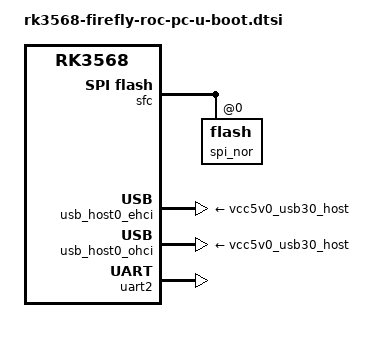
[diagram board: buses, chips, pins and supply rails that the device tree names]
// SPDX-License-Identifier: GPL-2.0+
/*
 * (C) Copyright 2021 Rockchip Electronics Co., Ltd
 */

#include "rk3568-u-boot.dtsi"

/ {
	chosen {
		stdout-path = &uart2;
		u-boot,spl-boot-order = "same-as-spl", &spi_nor, &sdmmc0, &sdhci;
	};
};

&gmac1 {
	assigned-clocks = <&cru SCLK_GMAC1_RX_TX>, <&cru SCLK_GMAC1>;
	assigned-clock-parents = <&cru SCLK_GMAC1_RGMII_SPEED>, <&gmac1_clkin>;
	status = "disabled";
};

&sfc {
	spi_nor: flash@0 {
		u-boot,dm-spl;
	};
};

&usb_host0_ehci {
	vbus-supply = <&vcc5v0_usb30_host>;
};

&usb_host0_ohci {
	vbus-supply = <&vcc5v0_usb30_host>;
};

&uart2 {
	clock-frequency = <24000000>;
	u-boot,dm-spl;
	status = "okay";
};
